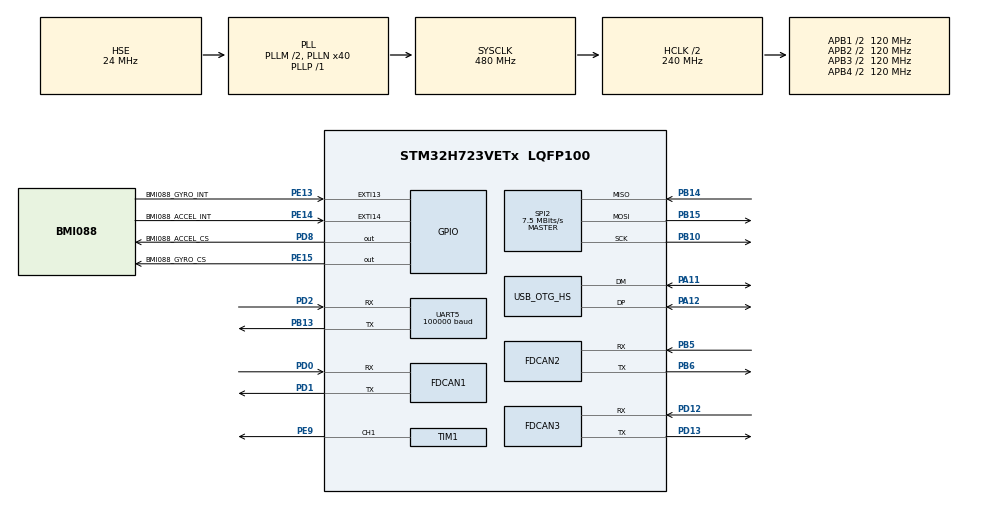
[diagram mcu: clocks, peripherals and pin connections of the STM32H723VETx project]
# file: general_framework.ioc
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CORTEX_M7.MPU_Control=__NULL
CORTEX_M7.default_mode_Activation=0
Dma.Request0=UART5_RX
Dma.UART5_RX.0.Direction=DMA_PERIPH_TO_MEMORY
Dma.UART5_RX.0.EventEnable=DISABLE
Dma.UART5_RX.0.FIFOMode=DMA_FIFOMODE_DISABLE
Dma.UART5_RX.0.Instance=DMA1_Stream2
Dma.UART5_RX.0.MemDataAlignment=DMA_MDATAALIGN_BYTE
Dma.UART5_RX.0.MemInc=DMA_MINC_ENABLE
Dma.UART5_RX.0.Mode=DMA_CIRCULAR
Dma.UART5_RX.0.PeriphDataAlignment=DMA_PDATAALIGN_BYTE
Dma.UART5_RX.0.PeriphInc=DMA_PINC_DISABLE
Dma.UART5_RX.0.Polarity=HAL_DMAMUX_REQ_GEN_RISING
Dma.UART5_RX.0.Priority=DMA_PRIORITY_VERY_HIGH
Dma.UART5_RX.0.RequestNumber=1
Dma.UART5_RX.0.SignalID=NONE
Dma.UART5_RX.0.SyncEnable=DISABLE
Dma.UART5_RX.0.SyncPolarity=HAL_DMAMUX_SYNC_NO_EVENT
Dma.UART5_RX.0.SyncRequestNumber=1
Dma.UART5_RX.0.SyncSignalID=NONE
FDCAN1.AutoRetransmission=ENABLE
FDCAN1.CalculateBaudRateNominal=1000000
FDCAN1.CalculateTimeBitNominal=1000
FDCAN1.CalculateTimeQuantumNominal=25.0
FDCAN1.DataPrescaler=3
FDCAN1.DataSyncJumpWidth=10
FDCAN1.DataTimeSeg1=29
FDCAN1.DataTimeSeg2=10
FDCAN1.ExtFiltersNbr=0
FDCAN1.FrameFormat=FDCAN_FRAME_CLASSIC
FDCAN1.MessageRAMOffset=0
FDCAN1.NominalPrescaler=3
FDCAN1.NominalSyncJumpWidth=10
FDCAN1.NominalTimeSeg1=29
FDCAN1.NominalTimeSeg2=10
FDCAN1.ProtocolException=ENABLE
FDCAN1.RxFifo0ElmtsNbr=16
FDCAN1.StdFiltersNbr=1
FDCAN1.TxFifoQueueElmtsNbr=8
FDCAN2.AutoRetransmission=ENABLE
FDCAN2.CalculateBaudRateNominal=1000000
FDCAN2.CalculateTimeBitNominal=1000
FDCAN2.CalculateTimeQuantumNominal=25.0
FDCAN2.DataPrescaler=3
FDCAN2.DataSyncJumpWidth=10
FDCAN2.DataTimeSeg1=29
FDCAN2.DataTimeSeg2=10
FDCAN2.ExtFiltersNbr=0
FDCAN2.FrameFormat=FDCAN_FRAME_CLASSIC
FDCAN2.MessageRAMOffset=800
FDCAN2.NominalPrescaler=3
FDCAN2.NominalSyncJumpWidth=10
FDCAN2.NominalTimeSeg1=29
FDCAN2.NominalTimeSeg2=10
FDCAN2.ProtocolException=ENABLE
FDCAN2.RxFifo0ElmtsNbr=16
FDCAN2.StdFiltersNbr=1
FDCAN2.TxFifoQueueElmtsNbr=16
FDCAN3.AutoRetransmission=ENABLE
FDCAN3.CalculateBaudRateNominal=1000000
FDCAN3.CalculateTimeBitNominal=1000
FDCAN3.CalculateTimeQuantumNominal=25.0
FDCAN3.DataPrescaler=3
FDCAN3.DataSyncJumpWidth=10
FDCAN3.DataTimeSeg1=29
FDCAN3.DataTimeSeg2=10
FDCAN3.ExtFiltersNbr=0
FDCAN3.FrameFormat=FDCAN_FRAME_CLASSIC
FDCAN3.MessageRAMOffset=1600
FDCAN3.NominalPrescaler=3
FDCAN3.NominalSyncJumpWidth=10
FDCAN3.NominalTimeSeg1=29
FDCAN3.NominalTimeSeg2=10
FDCAN3.ProtocolException=ENABLE
FDCAN3.RxFifo0ElmtsNbr=4
FDCAN3.StdFiltersNbr=1
FDCAN3.TxFifoQueueElmtsNbr=4
FREERTOS.Tasks01=defaultTask,24,128,StartDefaultTask,Default,NULL,Static,defaultTaskBuffer,defaultTaskControlBlock;ChassisTask,24,512,StartChassisTask,As weak,NULL,Dynamic,NULL,NULL;GimbalTask,32,1024,StartGimbalTask,As weak,NULL,Dynamic,NULL,NULL;IMUTask,40,1024,StartIMUTask,As weak,NULL,Dynamic,NULL,NULL;SafeTask,32,512,StartSafeTask,As weak,NULL,Dynamic,NULL,NULL;CommandTask,24,512,StartCommandTask,As weak,NULL,Dynamic,NULL,NULL;ShootTask,24,512,StartShootTask,As weak,NULL,Dynamic,NULL,NULL
FREERTOS.configCHECK_FOR_STACK_OVERFLOW=2
FREERTOS.configTOTAL_HEAP_SIZE=20480
FREERTOS.configUSE_MALLOC_FAILED_HOOK=1
Mcu.Family=STM32H7
Mcu.Name=STM32H723VETx
Mcu.Package=LQFP100
NVIC.DMA1_Stream2_IRQn=true\:5\:0\:false\:false\:true\:false\:false\:true\:true
NVIC.EXTI15_10_IRQn=true\:5\:0\:true\:false\:true\:true\:true\:true\:true
NVIC.FDCAN1_IT0_IRQn=true\:5\:0\:true\:false\:true\:true\:true\:true\:true
NVIC.FDCAN2_IT0_IRQn=true\:5\:0\:true\:false\:true\:true\:true\:true\:true
NVIC.FDCAN3_IT0_IRQn=true\:5\:0\:true\:false\:true\:true\:true\:true\:true
NVIC.OTG_HS_IRQn=true\:5\:0\:false\:false\:true\:true\:false\:true\:true
NVIC.PriorityGroup=NVIC_PRIORITYGROUP_4
NVIC.TIM2_IRQn=true\:15\:0\:false\:false\:true\:false\:false\:true\:true
NVIC.TimeBase=TIM2_IRQn
NVIC.TimeBaseIP=TIM2
NVIC.UART5_IRQn=true\:5\:0\:false\:false\:true\:true\:true\:true\:true
PA10.Signal=USB_OTG_HS_ID
PA11.Mode=Device_Only_FS
PA11.Signal=USB_OTG_HS_DM
PA12.Mode=Device_Only_FS
PA12.Signal=USB_OTG_HS_DP
PA13(JTMS/SWDIO).Mode=Serial_Wire
PA13(JTMS/SWDIO).Signal=DEBUG_JTMS-SWDIO
PA14(JTCK/SWCLK).Mode=Serial_Wire
PA14(JTCK/SWCLK).Signal=DEBUG_JTCK-SWCLK
PB10.GPIO_Speed=GPIO_SPEED_FREQ_VERY_HIGH
PB10.Mode=Full_Duplex_Master
PB10.Signal=SPI2_SCK
PB13.Mode=Asynchronous
PB13.Signal=UART5_TX
PB14.GPIO_Speed=GPIO_SPEED_FREQ_VERY_HIGH
PB14.Mode=Full_Duplex_Master
PB14.Signal=SPI2_MISO
PB15.GPIO_Speed=GPIO_SPEED_FREQ_VERY_HIGH
PB15.Mode=Full_Duplex_Master
PB15.Signal=SPI2_MOSI
PB5.Mode=FDCAN_Activate
PB5.Signal=FDCAN2_RX
PB6.Mode=FDCAN_Activate
PB6.Signal=FDCAN2_TX
PD0.Mode=FDCAN_Activate
PD0.Signal=FDCAN1_RX
PD1.Mode=FDCAN_Activate
PD1.Signal=FDCAN1_TX
PD12.Mode=FDCAN_Activate
PD12.Signal=FDCAN3_RX
PD13.Mode=FDCAN_Activate
PD13.Signal=FDCAN3_TX
PD2.Mode=Asynchronous
PD2.Signal=UART5_RX
PD8.GPIO_Label=BMI088_ACCEL_CS
PD8.GPIO_PuPd=GPIO_PULLUP
PD8.GPIO_Speed=GPIO_SPEED_FREQ_VERY_HIGH
PD8.PinState=GPIO_PIN_SET
PD8.Signal=GPIO_Output
PE13.GPIO_Label=BMI088_GYRO_INT
PE13.GPIO_ModeDefaultEXTI=GPIO_MODE_IT_FALLING
PE13.Signal=GPXTI13
PE14.GPIO_Label=BMI088_ACCEL_INT
PE14.GPIO_ModeDefaultEXTI=GPIO_MODE_IT_FALLING
PE14.Signal=GPXTI14
PE15.GPIO_Label=BMI088_GYRO_CS
PE15.GPIO_PuPd=GPIO_PULLUP
PE15.GPIO_Speed=GPIO_SPEED_FREQ_VERY_HIGH
PE15.PinState=GPIO_PIN_SET
PE15.Signal=GPIO_Output
PE9.Signal=S_TIM1_CH1
PH0-OSC_IN.Mode=HSE-External-Oscillator
PH0-OSC_IN.Signal=RCC_OSC_IN
PH1-OSC_OUT.Mode=HSE-External-Oscillator
PH1-OSC_OUT.Signal=RCC_OSC_OUT
ProjectManager.HeapSize=0x800
ProjectManager.StackSize=0x400
ProjectManager.TargetToolchain=CMake
RCC.ADCFreq_Value=100000000
RCC.APB1Freq_Value=120000000
RCC.APB2Freq_Value=120000000
RCC.APB3Freq_Value=120000000
RCC.APB4Freq_Value=120000000
RCC.CKPERSourceSelection=RCC_CLKPSOURCE_HSE
RCC.CortexFreq_Value=480000000
RCC.D1PPRE=RCC_APB3_DIV2
RCC.D2PPRE1=RCC_APB1_DIV2
RCC.D2PPRE2=RCC_APB2_DIV2
RCC.D3PPRE=RCC_APB4_DIV2
RCC.DIVM1=2
RCC.DIVM2=12
RCC.DIVM3=24
RCC.DIVN1=40
RCC.DIVN2=100
RCC.DIVN3=160
RCC.DIVP1=1
RCC.DIVQ1=4
RCC.DIVQ2=4
RCC.HCLKFreq_Value=240000000
RCC.HPRE=RCC_HCLK_DIV2
RCC.HSE_VALUE=24000000
RCC.PLL2FRACN=0
RCC.PLL3FRACN=0
RCC.PLLFRACN=0
RCC.PLLSourceVirtual=RCC_PLLSOURCE_HSE
RCC.SYSCLKFreq_VALUE=480000000
RCC.SYSCLKSource=RCC_SYSCLKSOURCE_PLLCLK
RCC.USBCLockSelection=RCC_USBCLKSOURCE_HSI48
RCC.USBFreq_Value=48000000
SH.S_TIM1_CH1.0=TIM1_CH1,PWM Generation1 CH1
SPI2.BaudRatePrescaler=SPI_BAUDRATEPRESCALER_16
SPI2.CLKPhase=SPI_PHASE_2EDGE
SPI2.CLKPolarity=SPI_POLARITY_HIGH
SPI2.CalculateBaudRate=7.5 MBits/s
SPI2.DataSize=SPI_DATASIZE_8BIT
SPI2.Direction=SPI_DIRECTION_2LINES
SPI2.Mode=SPI_MODE_MASTER
SPI2.NSSPMode=SPI_NSS_PULSE_ENABLE
SPI2.VirtualType=VM_MASTER
TIM1.AutoReloadPreload=TIM_AUTORELOAD_PRELOAD_ENABLE
TIM1.Channel-PWM\ Generation1\ CH1=TIM_CHANNEL_1
TIM1.Period=65535
TIM1.Prescaler=0
UART5.BaudRate=100000
UART5.Mode=MODE_TX_RX
UART5.Parity=PARITY_EVEN
UART5.StopBits=UART_STOPBITS_2
UART5.WordLength=WORDLENGTH_9B
USB_DEVICE.CLASS_NAME_HS=CDC
USB_DEVICE.VirtualMode=Cdc
USB_DEVICE.VirtualModeHS=Cdc_HS
USB_OTG_HS.VirtualMode-Device_Only_FS=Device_Only_FS
VP_FREERTOS_VS_CMSIS_V2.Mode=CMSIS_V2
VP_MEMORYMAP_VS_MEMORYMAP.Mode=CurAppReg
VP_RCC_USB.Mode=USB_HS
VP_SYS_VS_tim2.Mode=TIM2
VP_TIM1_VS_ClockSourceINT.Mode=Internal
VP_USB_DEVICE_VS_USB_DEVICE_CDC_HS.Mode=CDC_HS
board=custom

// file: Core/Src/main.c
/* USER CODE BEGIN Header */
/**
  ******************************************************************************
  * @file           : main.c
  * @brief          : Main program body
  ******************************************************************************
  * @attention
  *
  * Copyright (c) 2026 STMicroelectronics.
  * All rights reserved.
  *
  * This software is licensed under terms that can be found in the LICENSE file
  * in the root directory of this software component.
  * If no LICENSE file comes with this software, it is provided AS-IS.
  *
  ******************************************************************************
  */
/* USER CODE END Header */
#include "main.h"
#include "cmsis_os.h"
#include "dma.h"
#include "fdcan.h"
#include "spi.h"
#include "tim.h"
#include "usart.h"
#include "usb_device.h"
#include "gpio.h"

/* USER CODE BEGIN Includes */

#include "bsp_log.h"
#include "board_config.h"

/* USER CODE END Includes */

void SystemClock_Config(void);
void MX_FREERTOS_Init(void);

int main(void)
{

  /* MCU Configuration--------------------------------------------------------*/

  /* Reset of all peripherals, Initializes the Flash interface and the Systick. */
  HAL_Init();

  /* Configure the system clock */
  SystemClock_Config();

  /* Initialize all configured peripherals */
  MX_GPIO_Init();
  MX_DMA_Init();
  MX_FDCAN1_Init();
  MX_FDCAN2_Init();
  MX_FDCAN3_Init();
  MX_SPI2_Init();
  MX_TIM1_Init();
  MX_UART5_Init();
  /* USER CODE BEGIN 2 */

  bsp_log_init();
  BSP_LOG_INFO("system startup");
  {
    board_config_init_t board_init = {
      .initialize_watchdog = false,
    };
    if (board_config_init(&board_init) != BSP_STATUS_OK)
    {
      BSP_LOG_ERROR("board config failed: %s returned %s",
                     board_init.failed_step != NULL ? board_init.failed_step : "unknown",
                     bsp_status_to_string(board_init.last_error));
      Error_Handler();
    }
  }

  /* USER CODE END 2 */

  /* Init scheduler */
  osKernelInitialize();  /* Call init function for freertos objects (in cmsis_os2.c) */
  MX_FREERTOS_Init();

  /* Start scheduler */
  osKernelStart();

  /* We should never get here as control is now taken by the scheduler */

  /* Infinite loop */
  while (1)
  {

  }
}

void SystemClock_Config(void)
{
  RCC_OscInitTypeDef RCC_OscInitStruct = {0};
  RCC_ClkInitTypeDef RCC_ClkInitStruct = {0};
  RCC_CRSInitTypeDef RCC_CRSInitStruct = {0};

  /** Supply configuration update enable
  */
  HAL_PWREx_ConfigSupply(PWR_LDO_SUPPLY);

  /** Configure the main internal regulator output voltage
  */
  __HAL_PWR_VOLTAGESCALING_CONFIG(PWR_REGULATOR_VOLTAGE_SCALE0);

  while(!__HAL_PWR_GET_FLAG(PWR_FLAG_VOSRDY)) {}

  /** Initializes the RCC Oscillators according to the specified parameters
  * in the RCC_OscInitTypeDef structure.
  */
  RCC_OscInitStruct.OscillatorType = RCC_OSCILLATORTYPE_HSI48|RCC_OSCILLATORTYPE_HSE;
  RCC_OscInitStruct.HSEState = RCC_HSE_ON;
  RCC_OscInitStruct.HSI48State = RCC_HSI48_ON;
  RCC_OscInitStruct.PLL.PLLState = RCC_PLL_ON;
  RCC_OscInitStruct.PLL.PLLSource = RCC_PLLSOURCE_HSE;
  RCC_OscInitStruct.PLL.PLLM = 2;
  RCC_OscInitStruct.PLL.PLLN = 40;
  RCC_OscInitStruct.PLL.PLLP = 1;
  RCC_OscInitStruct.PLL.PLLQ = 4;
  RCC_OscInitStruct.PLL.PLLR = 2;
  RCC_OscInitStruct.PLL.PLLRGE = RCC_PLL1VCIRANGE_3;
  RCC_OscInitStruct.PLL.PLLVCOSEL = RCC_PLL1VCOWIDE;
  RCC_OscInitStruct.PLL.PLLFRACN = 0;
  if (HAL_RCC_OscConfig(&RCC_OscInitStruct) != HAL_OK)
  {
    Error_Handler();
  }

  /** Initializes the CPU, AHB and APB buses clocks
  */
  RCC_ClkInitStruct.ClockType = RCC_CLOCKTYPE_HCLK|RCC_CLOCKTYPE_SYSCLK
                              |RCC_CLOCKTYPE_PCLK1|RCC_CLOCKTYPE_PCLK2
                              |RCC_CLOCKTYPE_D3PCLK1|RCC_CLOCKTYPE_D1PCLK1;
  RCC_ClkInitStruct.SYSCLKSource = RCC_SYSCLKSOURCE_PLLCLK;
  RCC_ClkInitStruct.SYSCLKDivider = RCC_SYSCLK_DIV1;
  RCC_ClkInitStruct.AHBCLKDivider = RCC_HCLK_DIV2;
  RCC_ClkInitStruct.APB3CLKDivider = RCC_APB3_DIV2;
  RCC_ClkInitStruct.APB1CLKDivider = RCC_APB1_DIV2;
  RCC_ClkInitStruct.APB2CLKDivider = RCC_APB2_DIV2;
  RCC_ClkInitStruct.APB4CLKDivider = RCC_APB4_DIV2;

  if (HAL_RCC_ClockConfig(&RCC_ClkInitStruct, FLASH_LATENCY_3) != HAL_OK)
  {
    Error_Handler();
  }

  /** Enable the SYSCFG APB clock
  */
  __HAL_RCC_CRS_CLK_ENABLE();

  /** Configures CRS
  */
  RCC_CRSInitStruct.Prescaler = RCC_CRS_SYNC_DIV1;
  RCC_CRSInitStruct.Source = RCC_CRS_SYNC_SOURCE_USB2;
  RCC_CRSInitStruct.Polarity = RCC_CRS_SYNC_POLARITY_RISING;
  RCC_CRSInitStruct.ReloadValue = __HAL_RCC_CRS_RELOADVALUE_CALCULATE(48000000,1000);
  RCC_CRSInitStruct.ErrorLimitValue = 34;
  RCC_CRSInitStruct.HSI48CalibrationValue = 32;

  HAL_RCCEx_CRSConfig(&RCC_CRSInitStruct);
}

void HAL_TIM_PeriodElapsedCallback(TIM_HandleTypeDef *htim)
{
  if (htim->Instance == TIM2)
  {
    HAL_IncTick();
  }
}

void Error_Handler(void)
{
  __disable_irq();
  while (1)
  {
  }
}

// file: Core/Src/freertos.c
/* USER CODE BEGIN Header */
/**
  ******************************************************************************
  * File Name          : freertos.c
  * Description        : Code for freertos applications
  ******************************************************************************
  * @attention
  *
  * Copyright (c) 2026 STMicroelectronics.
  * All rights reserved.
  *
  * This software is licensed under terms that can be found in the LICENSE file
  * in the root directory of this software component.
  * If no LICENSE file comes with this software, it is provided AS-IS.
  *
  ******************************************************************************
  */
/* USER CODE END Header */

#include "FreeRTOS.h"
#include "task.h"
#include "main.h"
#include "cmsis_os.h"

/* USER CODE BEGIN Includes */

#include "app_safety.h"
#include "app_exchange.h"
#include "app_vision.h"
#include "app_robot.h"
#include "board_config.h"
#include "task_chassis.h"
#include "task_command.h"
#include "task_gimbal.h"
#include "task_imu.h"
#include "task_safety.h"
#include "task_shooter.h"

/* USER CODE END Includes */

typedef StaticTask_t osStaticThreadDef_t;

/* Definitions for defaultTask */
osThreadId_t defaultTaskHandle;
uint32_t defaultTaskBuffer[ 128 ];
osStaticThreadDef_t defaultTaskControlBlock;
const osThreadAttr_t defaultTask_attributes = {
  .name = "defaultTask",
  .cb_mem = &defaultTaskControlBlock,
  .cb_size = sizeof(defaultTaskControlBlock),
  .stack_mem = &defaultTaskBuffer[0],
  .stack_size = sizeof(defaultTaskBuffer),
  .priority = (osPriority_t) osPriorityNormal,
};
/* Definitions for ChassisTask */
osThreadId_t ChassisTaskHandle;
const osThreadAttr_t ChassisTask_attributes = {
  .name = "ChassisTask",
  .stack_size = 512 * 4,
  .priority = (osPriority_t) osPriorityNormal,
};
/* Definitions for GimbalTask */
osThreadId_t GimbalTaskHandle;
const osThreadAttr_t GimbalTask_attributes = {
  .name = "GimbalTask",
  .stack_size = 1024 * 4,
  .priority = (osPriority_t) osPriorityAboveNormal,
};
/* Definitions for IMUTask */
osThreadId_t IMUTaskHandle;
const osThreadAttr_t IMUTask_attributes = {
  .name = "IMUTask",
  .stack_size = 1024 * 4,
  .priority = (osPriority_t) osPriorityHigh,
};
/* Definitions for SafeTask */
osThreadId_t SafeTaskHandle;
const osThreadAttr_t SafeTask_attributes = {
  .name = "SafeTask",
  .stack_size = 512 * 4,
  .priority = (osPriority_t) osPriorityAboveNormal,
};
/* Definitions for CommandTask */
osThreadId_t CommandTaskHandle;
const osThreadAttr_t CommandTask_attributes = {
  .name = "CommandTask",
  .stack_size = 512 * 4,
  .priority = (osPriority_t) osPriorityNormal,
};
/* Definitions for ShootTask */
osThreadId_t ShootTaskHandle;
const osThreadAttr_t ShootTask_attributes = {
  .name = "ShootTask",
  .stack_size = 512 * 4,
  .priority = (osPriority_t) osPriorityNormal,
};

void StartDefaultTask(void *argument);
void StartChassisTask(void *argument);
void StartGimbalTask(void *argument);
void StartIMUTask(void *argument);
void StartSafeTask(void *argument);
void StartCommandTask(void *argument);
void StartShootTask(void *argument);

extern void MX_USB_DEVICE_Init(void);
void MX_FREERTOS_Init(void); /* (MISRA C 2004 rule 8.1) */

/* Hook prototypes */
void vApplicationStackOverflowHook(xTaskHandle xTask, signed char *pcTaskName);
void vApplicationMallocFailedHook(void);

/* USER CODE BEGIN 4 */
void vApplicationStackOverflowHook(xTaskHandle xTask, signed char *pcTaskName)
{
   /* Run time stack overflow checking is performed if
   configCHECK_FOR_STACK_OVERFLOW is defined to 1 or 2. This hook function is
   called if a stack overflow is detected. */
}
/* USER CODE END 4 */

/* USER CODE BEGIN 5 */
void vApplicationMallocFailedHook(void)
{
   /* vApplicationMallocFailedHook() will only be called if
   configUSE_MALLOC_FAILED_HOOK is set to 1 in FreeRTOSConfig.h. It is a hook
   function that will get called if a call to pvPortMalloc() fails.
   pvPortMalloc() is called internally by the kernel whenever a task, queue,
   timer or semaphore is created. It is also called by various parts of the
   demo application. If heap_1.c or heap_2.c are used, then the size of the
   heap available to pvPortMalloc() is defined by configTOTAL_HEAP_SIZE in
   FreeRTOSConfig.h, and the xPortGetFreeHeapSize() API function can be used
   to query the size of free heap space that remains (although it does not
   provide information on how the remaining heap might be fragmented). */
}
/* USER CODE END 5 */

void MX_FREERTOS_Init(void) {
  /* USER CODE BEGIN Init */

  if (app_safety_init(NULL) != BSP_STATUS_OK)
  {
    Error_Handler();
  }
  app_exchange_init();
  {
    const app_vision_config_t vision_config = {
      .usb_vcp = board_config_get_usb_vcp(),
      .target_timeout_ms = 200U,
      .transmit_period_ms = 10U,
    };
    if (app_vision_init(&vision_config) != BSP_STATUS_OK)
    {
      Error_Handler();
    }
  }
  if (app_robot_init() != BSP_STATUS_OK)
  {
    Error_Handler();
  }

  /* USER CODE END Init */

  /* Create the thread(s) */
  /* creation of defaultTask */
  defaultTaskHandle = osThreadNew(StartDefaultTask, NULL, &defaultTask_attributes);

  /* creation of ChassisTask */
  ChassisTaskHandle = osThreadNew(StartChassisTask, NULL, &ChassisTask_attributes);

  /* creation of GimbalTask */
  GimbalTaskHandle = osThreadNew(StartGimbalTask, NULL, &GimbalTask_attributes);

  /* creation of IMUTask */
  IMUTaskHandle = osThreadNew(StartIMUTask, NULL, &IMUTask_attributes);

  /* creation of SafeTask */
  SafeTaskHandle = osThreadNew(StartSafeTask, NULL, &SafeTask_attributes);

  /* creation of CommandTask */
  CommandTaskHandle = osThreadNew(StartCommandTask, NULL, &CommandTask_attributes);

  /* creation of ShootTask */
  ShootTaskHandle = osThreadNew(StartShootTask, NULL, &ShootTask_attributes);

}

void StartDefaultTask(void *argument)
{
  /* init code for USB_DEVICE */
  MX_USB_DEVICE_Init();
  for(;;)
  {
    osDelay(1);
  }
}

__weak void StartChassisTask(void *argument)
{
  /* USER CODE BEGIN StartChassisTask */
  task_chassis_run(argument);
  /* USER CODE END StartChassisTask */
}

__weak void StartGimbalTask(void *argument)
{
  /* USER CODE BEGIN StartGimbalTask */
  task_gimbal_run(argument);
  /* USER CODE END StartGimbalTask */
}

__weak void StartIMUTask(void *argument)
{
  /* USER CODE BEGIN StartIMUTask */
  task_imu_run(argument);
  /* USER CODE END StartIMUTask */
}

__weak void StartSafeTask(void *argument)
{
  /* USER CODE BEGIN StartSafeTask */
  task_safety_run(argument);
  /* USER CODE END StartSafeTask */
}

__weak void StartCommandTask(void *argument)
{
  /* USER CODE BEGIN StartCommandTask */
  task_command_run(argument);
  /* USER CODE END StartCommandTask */
}

__weak void StartShootTask(void *argument)
{
  /* USER CODE BEGIN StartShootTask */
  task_shooter_run(argument);
  /* USER CODE END StartShootTask */
}
